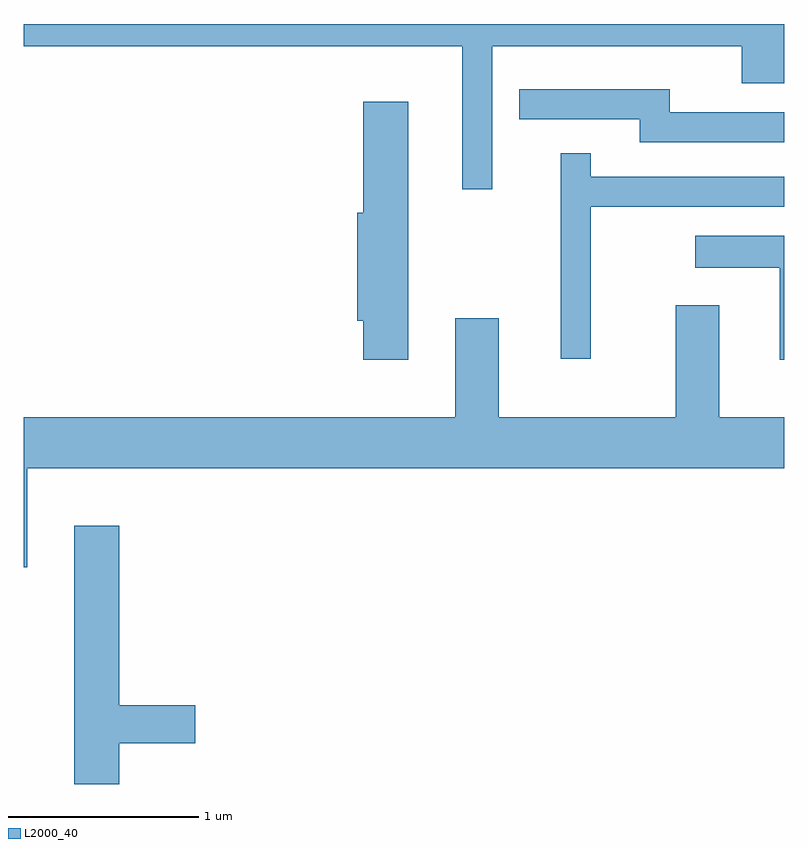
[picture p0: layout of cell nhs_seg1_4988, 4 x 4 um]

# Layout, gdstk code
import gdstk
lib = gdstk.Library(unit=1e-6, precision=1e-09)
def P(c, l, *ps):  # polygons
    for p in ps: c.add(gdstk.Polygon(p, *l))
L2000_40 = (2000, 40)

nhs_seg1_4988 = lib.new_cell('nhs_seg1_4988')
P(nhs_seg1_4988, L2000_40, [(338.074,879.596),(339.386,879.596),(339.386,879.401),(339.611,879.401),(339.611,879.712),(335.611,879.712),(335.611,879.596),(337.916,879.596),(337.916,878.843),(338.074,878.843)],
  [(339.611,879.249),(339.009,879.249),(339.009,879.369),(338.218,879.369),(338.218,879.211),(338.851,879.211),(338.851,879.091),(339.611,879.091)],
  [(337.634,879.304),(337.396,879.304),(337.396,878.719),(337.366,878.719),(337.366,878.151),(337.396,878.151),(337.396,877.946),(337.634,877.946)],
  [(338.594,878.751),(339.611,878.751),(339.611,878.909),(338.594,878.909),(338.594,879.033),(338.436,879.033),(338.436,877.953),(338.594,877.953)],
  [(339.611,878.599),(339.143,878.599),(339.143,878.431),(339.586,878.431),(339.586,877.946),(339.611,877.946)],
  [(335.629,877.376),(339.611,877.376),(339.611,877.644),(339.269,877.644),(339.269,878.234),(339.041,878.234),(339.041,877.644),(338.109,877.644),(338.109,878.164),(337.881,878.164),(337.881,877.644),(335.611,877.644),(335.611,876.856),(335.629,876.856)],
  [(336.114,875.931),(336.514,875.931),(336.514,876.129),(336.114,876.129),(336.114,877.074),(335.876,877.074),(335.876,875.716),(336.114,875.716)])

lib.write_gds('nhs_seg1_4988.gds')
